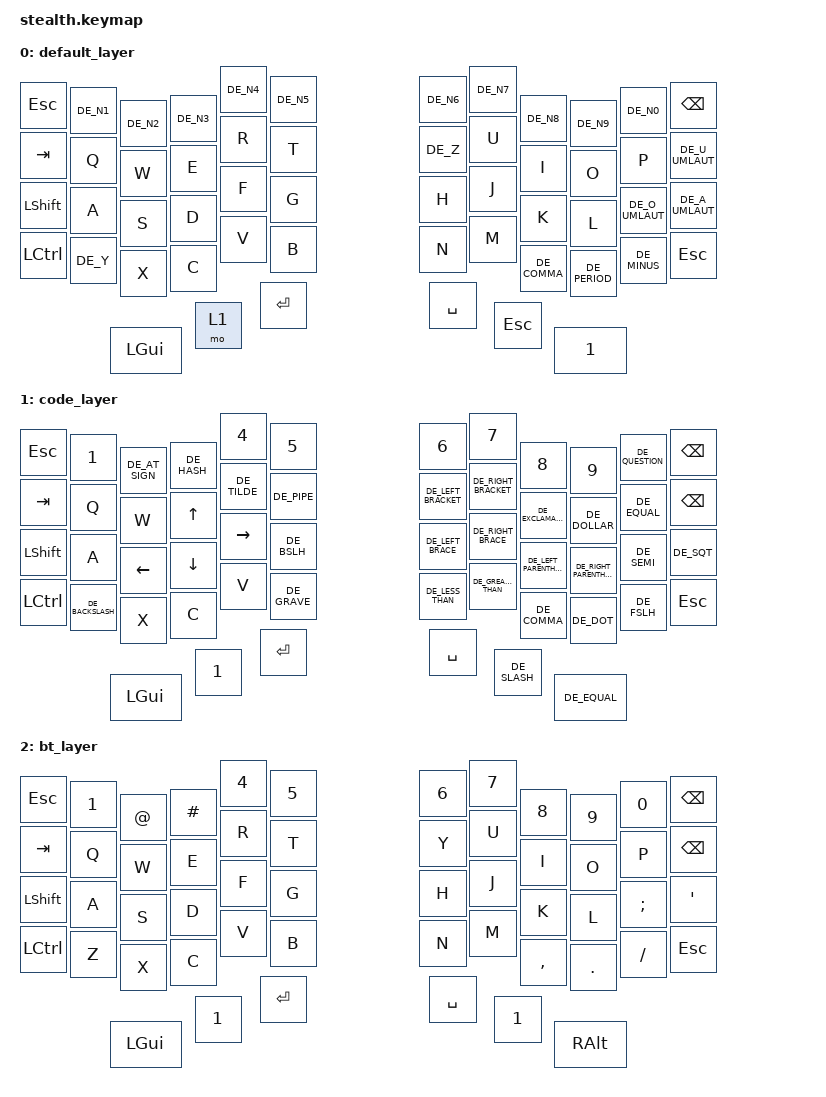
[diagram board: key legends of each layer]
/*
 * Copyright (c) 2020 The ZMK Contributors
 *
 * SPDX-License-Identifier: MIT
 */

#include <behaviors.dtsi>
#include <dt-bindings/zmk/keys.h>
#include <dt-bindings/zmk/bt.h>

#include "../../../include/locale/keys_de_swiss.h"


/ {
    behaviors {
        // Custom shift behaviors for number keys
        shift_0: shift_0_behavior {
            compatible = "zmk,behavior-mod-morph";
            #binding-cells = <0>;
            bindings = <&kp N0>, <&kp EQUAL>; // Normal: 0, Shift: )
            mods = <MOD_LSFT>;
        };
        shift_1: shift_1_behavior {
            compatible = "zmk,behavior-mod-morph";
            #binding-cells = <0>;
            bindings = <&kp N1>, <&kp PLUS>; // Normal: 1, Shift: +
            mods = <MOD_LSFT>;
        };
        shift_2: shift_2_behavior {
            compatible = "zmk,behavior-mod-morph";
            #binding-cells = <0>;
            bindings = <&kp N2>, <&kp DOUBLE_QUOTES>; // Normal: 2, Shift: "
            mods = <MOD_LSFT>;
        };
        shift_3: shift_3_behavior {
            compatible = "zmk,behavior-mod-morph";
            #binding-cells = <0>;
            bindings = <&kp N3>, <&kp ASTERISK>; // Normal: 3, Shift: *
            mods = <MOD_LSFT>;
        };
        shift_4: shift_4_behavior {
            compatible = "zmk,behavior-mod-morph";
            #binding-cells = <0>;
            bindings = <&kp N4>, <&kp DOLLAR>; // Normal: 4, Shift: $
            mods = <MOD_LSFT>;
        };
        shift_5: shift_5_behavior {
            compatible = "zmk,behavior-mod-morph";
            #binding-cells = <0>;
            bindings = <&kp N5>, <&kp PERCENT>; // Normal: 5, Shift: %
            mods = <MOD_LSFT>;
        };
        shift_6: shift_6_behavior {
            compatible = "zmk,behavior-mod-morph";
            #binding-cells = <0>;
            bindings = <&kp N6>, <&kp AMPERSAND>; // Normal: 6, Shift: &
            mods = <MOD_LSFT>;
        };
        shift_7: shift_7_behavior {
            compatible = "zmk,behavior-mod-morph";
            #binding-cells = <0>;
            bindings = <&kp N7>, <&kp FSLH>; // Normal: 7, Shift: /
            mods = <MOD_LSFT>;
        };
        shift_8: shift_8_behavior {
            compatible = "zmk,behavior-mod-morph";
            #binding-cells = <0>;
            bindings = <&kp N8>, <&kp LEFT_PARENTHESIS>; // Normal: 8, Shift: (
            mods = <MOD_LSFT>;
        };
        shift_9: shift_9_behavior {
            compatible = "zmk,behavior-mod-morph";
            #binding-cells = <0>;
            bindings = <&kp N9>, <&kp RIGHT_PARENTHESIS>; // Normal: 9, Shift: )
            mods = <MOD_LSFT>;
        };
        shift_dot: shift_dot_behavior {
            compatible = "zmk,behavior-mod-morph";
            #binding-cells = <0>;
            bindings = <&kp DOT>, <&kp COLON>; // Normal: . , Shift: :
            mods = <MOD_LSFT>;
        };
        shift_minus: shift_minus_behavior {
            compatible = "zmk,behavior-mod-morph";
            #binding-cells = <0>;
            bindings = <&kp KP_MINUS>, <&kp UNDERSCORE>; // Normal: - , Shift: _
            mods = <MOD_LSFT>;
        };
        shift_comma: shift_comma_behavior {
            compatible = "zmk,behavior-mod-morph";
            #binding-cells = <0>;
            bindings = <&kp COMMA>, <&kp SEMICOLON>; // Normal: , , Shift: ;
            mods = <MOD_LSFT>;
        };
    };
        keymap {
        compatible = "zmk,keymap";

        default_layer {// layer 0
            // -----------------------------------------------------------------------------------------
            // |  TAB  |  1 (+,|) |  2 (",@) |  3 (*,#) |  4 (ç,¼) |  5 (%,½) |   |  6 (&,¬) |  7 (/,|) |  8 ((,¢)) |  9 () |  0 (=) | BSPC |
            // |  TAB  |   Q     |    W     |    E     |    R     |    T     |   |    Y     |    U     |    I     |    O     |    P     | BSPC |
            // | CTRL  |   A     |    S     |    D     |    F     |    G     |   |    H     |    J     |    K     |    L     |    ;     |   '   |
            // | SHFT  |   Z     |    X     |    C     |    V     |    B     |   |    N     |    M     |    ,     |    .     |    /     |  ESC  |
            //                 | GUI |  LWR  |   SPC    |       |   ENT    |  RSE   | ALT |
            bindings = <
                // Row 1
                &kp ESC      &kp DE_N1  &kp DE_N2  &kp DE_N3  &kp DE_N4  &kp DE_N5  &kp DE_N6  &kp DE_N7  &kp DE_N8  &kp DE_N9  &kp DE_N0 &kp BSPC 

                // Row 2
                &kp TAB    &kp Q     &kp W     &kp E     &kp R     &kp T           &kp DE_Z      &kp U      &kp I      &kp O     &kp P     &kp DE_U_UMLAUT

                // Row 3
                &kp LSHFT  &kp A     &kp S     &kp D     &kp F     &kp G           &kp H      &kp J      &kp K      &kp L     &kp DE_O_UMLAUT  &kp DE_A_UMLAUT

                // Row 4
                &kp LCTRL   &kp DE_Y     &kp X     &kp C     &kp V     &kp B           &kp N      &kp M      &kp DE_COMMA  &kp DE_PERIOD  &kp DE_MINUS   &kp ESC

                // Thumb row (modifiers and space/return)
                           &kp LGUI  &mo 1  &kp RET              &kp SPACE     &kp ESC    &kp N1
            >;
        };
        code_layer{// layer 1
            // -----------------------------------------------------------------------------------------
            // |  TAB  |  1 (+,|) |  2 (",@) |  3 (*,#) |  4 (ç,¼) |  5 (%,½) |   |  6 (&,¬) |  7 (/,|) |  8 ((,¢)) |  9 () |  0 (=) | BSPC |
            // |  TAB  |   Q     |    W     |    E     |    R     |    T     |   |    Y     |    U     |    I     |    O     |    P     | BSPC |
            // | CTRL  |   A     |    S     |    D     |    F     |    G     |   |    H     |    J     |    K     |    L     |    ;     |   '   |
            // | SHFT  |   Z     |    X     |    C     |    V     |    B     |   |    N     |    M     |    ,     |    .     |    /     |  ESC  |
            //                 | GUI |  LWR  |   SPC    |       |   ENT    |  RSE   | ALT |
            bindings = <
                // Row 1
                &kp ESC      &kp N1    &kp DE_AT_SIGN    &kp DE_HASH   &kp N4    &kp N5          &kp N6     &kp N7     &kp N8     &kp N9    &kp DE_QUESTION    &kp BSPC

                // Row 2
                &kp TAB    &kp Q     &kp W      &kp UP_ARROW    &kp DE_TILDE     &kp DE_PIPE           &kp DE_LEFT_BRACKET   &kp DE_RIGHT_BRACKET  &kp DE_EXCLAMATION     &kp DE_DOLLAR     &kp DE_EQUAL     &kp BSPC

                // Row 3
                &kp LSHFT   &kp A    &kp LEFT_ARROW   &kp DOWN_ARROW     &kp RIGHT_ARROW     &kp DE_BSLH     &kp DE_LEFT_BRACE  &kp DE_RIGHT_BRACE  &kp DE_LEFT_PARENTHESIS   &kp DE_RIGHT_PARENTHESIS   &kp DE_SEMI  &kp DE_SQT

                // Row 4
                &kp LCTRL   &kp DE_BACKSLASH    &kp X     &kp C     &kp V     &kp DE_GRAVE           &kp DE_LESS_THAN  &kp DE_GREATER_THAN   &kp DE_COMMA  &kp DE_DOT   &kp DE_FSLH  &kp ESC

                // Thumb row (modifiers and space/return)
                           &kp LGUI  &kp N1     &kp RET              &kp SPACE     &kp  DE_SLASH   &kp  DE_EQUAL
            >;
        };

        bt_layer{// layer 3 
            // -----------------------------------------------------------------------------------------
            // |  TAB  |  1 (+,|) |  2 (",@) |  3 (*,#) |  4 (ç,¼) |  5 (%,½) |   |  6 (&,¬) |  7 (/,|) |  8 ((,¢)) |  9 () |  0 (=) | BSPC |
            // |  TAB  |   Q     |    W     |    E     |    R     |    T     |   |    Y     |    U     |    I     |    O     |    P     | BSPC |
            // | CTRL  |   A     |    S     |    D     |    F     |    G     |   |    H     |    J     |    K     |    L     |    ;     |   '   |
            // | SHFT  |   Z     |    X     |    C     |    V     |    B     |   |    N     |    M     |    ,     |    .     |    /     |  ESC  |
            //                 | GUI |  LWR  |   SPC    |       |   ENT    |  RSE   | ALT |
            bindings = <
                // Row 1
                &kp ESC      &kp N1    &kp AT_SIGN    &kp HASH  &kp N4    &kp N5          &kp N6     &kp N7     &kp N8     &kp N9    &kp N0    &kp BSPC

                // Row 2
                &kp TAB     &kp Q     &kp W     &kp E     &kp R     &kp T           &kp Y      &kp U      &kp I      &kp O     &kp P     &kp BSPC

                // Row 3
                &kp LSHFT   &kp A     &kp S     &kp D     &kp F     &kp G           &kp H      &kp J      &kp K      &kp L     &kp SEMI  &kp SQT

                // Row 4
                &kp LCTRL   &kp Z     &kp X     &kp C     &kp V     &kp B           &kp N      &kp M      &kp COMMA  &kp DOT   &kp FSLH  &kp ESC

                // Thumb row (modifiers and space/return)
                           &kp LGUI  &kp N1     &kp RET              &kp SPACE     &kp N1      &kp RALT
            >;
        };
    };
};

